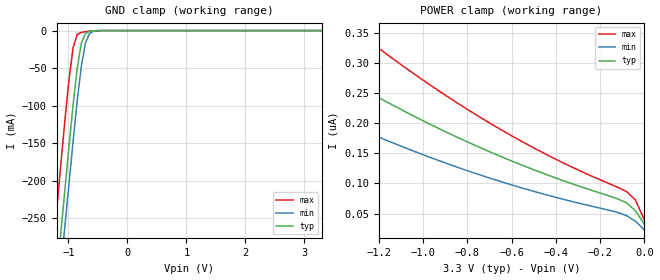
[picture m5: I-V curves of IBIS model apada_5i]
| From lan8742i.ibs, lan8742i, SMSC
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|   Model apad_5i
[Model]  apada_5i
Model_type Input
Polarity   Non-Inverting
Vinl =   0.0000V
Vinh =   3.3000V
C_comp   0   0   0
[Temperature Range]   42.0000   85.0000   -40.0000
[Voltage Range]   3.3000V   2.9700V   3.6300V
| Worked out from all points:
|   GND clamp passes 1 mA (typ) near -0.64 V on its own axis
[GND_clamp]
|Voltage   I(typ)   I(min)   I(max)
-3.3V     -2.097A    -2.101A    -2.086A
-1.27V    -389.2mA   -433.1mA   -303.1mA
-1.2V     -330.7mA   -376mA     -242mA
-1.13V    -272.2mA   -319mA     -181mA
-1.06V    -213.9mA   -262mA     -121.1mA
-990mV    -155.6mA   -205.1mA   -66.18mA
-920mV    -99.57mA   -148.3mA   -23.2mA
-850mV    -50.71mA   -94.06mA   -5.164mA
-780mV    -16.79mA   -47.62mA   -2.413mA
-710mV    -3.717mA   -16.3mA    -1.412mA
-570mV    -280.5uA   -752.3uA   -241.5uA
3.3V      32.31nA    70.35nA    292.2pA
[POWER_clamp]
|Voltage   I(typ)   I(min)   I(max)
-3.28V    815nA      639.8nA    1.108uA
-2.16V    469.5nA    355nA      637.7nA
-1.72V    357nA      266nA      482.8nA
-1.68V    347.5nA    258.6nA    469.7nA
-1.32V    267.1nA    196nA      358.7nA
-1.28V    258.8nA    189.6nA    347.3nA
-1V       204.2nA    147.8nA    271.7nA
-680mV    149.7nA    106.8nA    196.3nA
-400mV    109.1nA    76.93nA    140.3nA
-80mV     67.79nA    46.42nA    86.32nA
-40mV     54.59nA    37.21nA    72.41nA
0V        32.31nA    22.73nA    39.32nA
